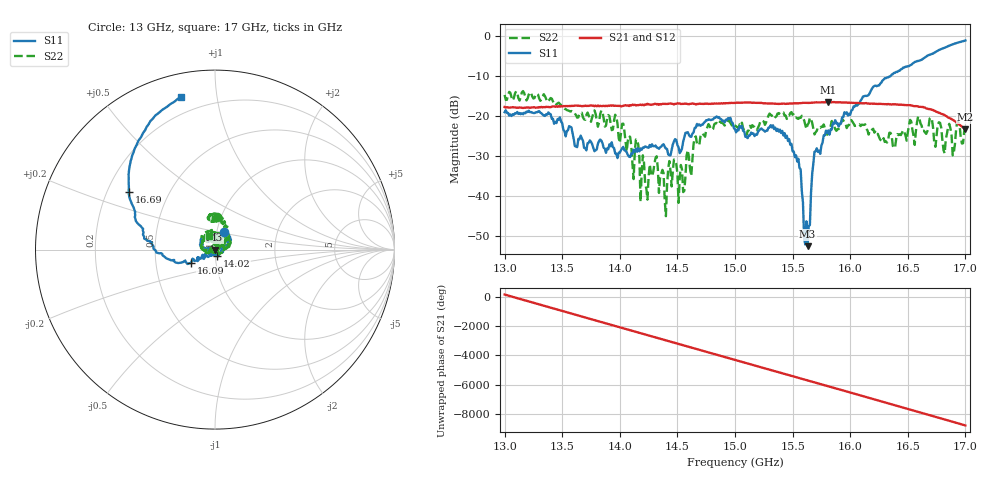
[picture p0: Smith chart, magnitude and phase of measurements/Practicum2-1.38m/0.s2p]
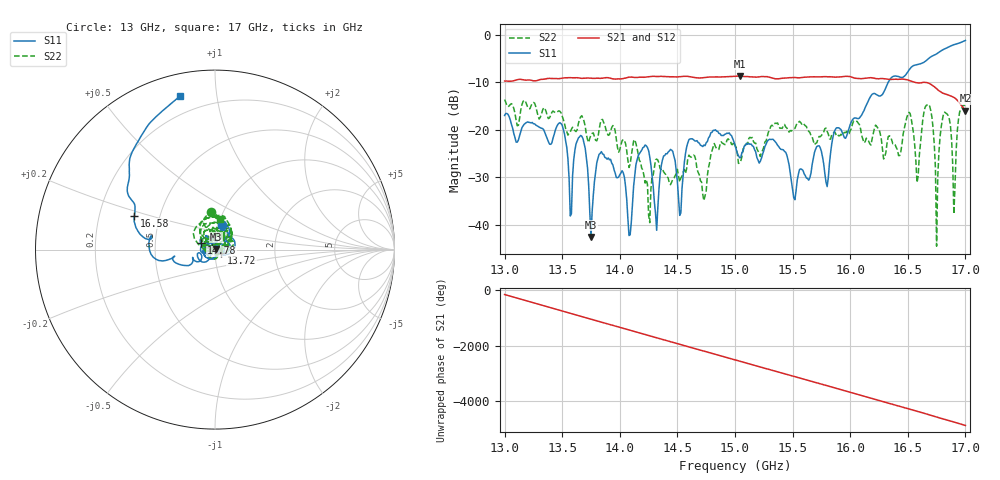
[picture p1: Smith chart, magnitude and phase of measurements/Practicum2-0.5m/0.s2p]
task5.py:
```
import numpy as np
import skrf as rf
import matplotlib.pyplot as plt

def readout_s2p(your_file):

  ntwk = rf.Network(your_file)

  # Frequency (Hz)
  freq = ntwk.f

  # S-parameters (complex!)
  S = ntwk.s   # shape: (Nfreq, 2, 2)

  # Individual parameters
  S11 = S[:, 0, 0]
  S21 = S[:, 1, 0]
  S12 = S[:, 0, 1]
  S22 = S[:, 1, 1]
  return(freq, S11, S21, S12, S22)



def get_gain(dist,file):
    freq, S11, S21, S12, S22 = readout_s2p(file)

    c0 = 3e8


    lambd = c0/freq
    
    # Friis equation
    gain = np.abs(S21)*4*np.pi*dist/lambd
    
    return(freq,gain)




# voor elke afstand
freq_138,gain_138 = get_gain(1.38,"measurements/Practicum2-1.38m/0.s2p")

freq_100, gain_100 = get_gain(1.00,"measurements/Practicum2-1m/0.s2p")

freq_050, gain_050 = get_gain(0.5,"measurements/Practicum2-0.5m/0.s2p")


# far field distance

lx = 8.86e-2
ly = 6.5e-2
D = lx # (lx**2+ly**2)**0.5

lambd = 3e8/freq_138
R = 2*D**2/lambd



fig, ax1 = plt.subplots()




ax1.plot(freq_138/1e9,10*np.log10(gain_138),label="1.38m")
ax1.plot(freq_100/1e9,10*np.log10(gain_100),label="1m")
ax1.plot(freq_050/1e9,10*np.log10(gain_050),label="0.5m")


ax2 = ax1.twinx()
ax2.plot(freq_138/1e9,R,"--",label="Far field distance")
ax2.set_ylabel("Distance (m)")

ax1.set_xlabel("Freq (GHz)")
ax1.set_ylabel("Gain (dB)")
ax1.set_title("Gain per frequency")
ax1.grid()
ax1.legend()
ax2.legend(loc=4)


plt.show()
plt.savefig("plots/task5.png", dpi=500)
```
measurements/Practicum2-1.38m/0.s2p:
!Keysight Technologies,P9374A,MY57211807,A.19.30.04
!Date: Friday, May 01, 2026 14:06:19
!Correction: S11(C  2-Port  )
!S21(C  2-Port  )
!S12(C  2-Port  )
!S22(C  2-Port  )
!S2P File: Measurements: S11, S21, S12, S22:
# Hz S  RI  R 50
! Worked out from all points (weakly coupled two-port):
!   401 points, 13 GHz to 17 GHz, reference 50 ohm
!   highest |S21| = -16.57 dB at 15.81 GHz (marker M1); lowest = -23.4 dB at 17 GHz (marker M2)
!   lowest |S11| = -52.6 dB at 15.63 GHz (marker M3), VSWR 1.00, Z = 49.8 - j0.0845 ohm
!   |S11| at or under -10 dB: start of sweep to 16.35 GHz
!   |S22| runs from -45.1 to -13.8 dB; largest |S21 - S12| = 0.0044
!   S11 on the Smith chart (normalised r, x): 13 GHz: 1.08, +0.22; 14.02 GHz: 1.02, -0.08; 16.09 GHz: 0.76, -0.12; 16.69 GHz: 0.29, +0.28; 17 GHz: 0.11, +0.80
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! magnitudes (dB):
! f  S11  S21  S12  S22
! 13 GHz  -19.1  -17.8  -17.8  -14.8
! 14.02 GHz  -28.1  -17.6  -17.6  -22.0
! 14.39 GHz  -27.7  -17.0  -17.0  -41.1
! 15 GHz  -23.3  -16.8  -16.8  -22.5
! 15.45 GHz  -25.0  -17.0  -17.0  -20.8
! 15.63 GHz  -52.6  -16.8  -16.8  -22.3
! 15.69 GHz  -29.0  -16.7  -16.7  -24.7
! 15.81 GHz  -23.7  -16.6  -16.6  -24.4
! 16.09 GHz  -16.3  -16.9  -16.9  -22.6
! 16.69 GHz  -4.8  -18.3  -18.3  -20.7
! 17 GHz  -1.2  -23.4  -23.4  -21.7
measurements/Practicum2-0.5m/0.s2p:
!Keysight Technologies,P9374A,MY57211807,A.19.30.04
!Date: Friday, May 01, 2026 14:46:43
!Correction: S11(C  2-Port  )
!S21(C  2-Port  )
!S12(C  2-Port  )
!S22(C  2-Port  )
!S2P File: Measurements: S11, S21, S12, S22:
# Hz S  RI  R 50
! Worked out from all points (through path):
!   401 points, 13 GHz to 17 GHz, reference 50 ohm
!   highest |S21| = -8.64 dB at 15.04 GHz (marker M1); lowest = -15.9 dB at 17 GHz (marker M2)
!   lowest |S11| = -42.6 dB at 13.75 GHz (marker M3), VSWR 1.01, Z = 50.7 + j0.359 ohm
!   |S11| at or under -10 dB: start of sweep to 16.33 GHz
!   |S22| runs from -44.5 to -13.6 dB; largest |S21 - S12| = 0.011
!   S11 on the Smith chart (normalised r, x): 13 GHz: 1.04, +0.29; 13.72 GHz: 1.07, -0.04; 14.78 GHz: 0.85, +0.06; 16.58 GHz: 0.36, +0.18; 17 GHz: 0.11, +0.79
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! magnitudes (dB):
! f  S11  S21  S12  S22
! 13 GHz  -17.0  -9.7  -9.7  -13.6
! 13.72 GHz  -28.0  -9.1  -9.1  -22.1
! 13.75 GHz  -42.6  -9.1  -9.1  -21.1
! 14.78 GHz  -21.4  -8.9  -8.8  -26.9
! 15 GHz  -23.3  -8.7  -8.7  -23.2
! 15.04 GHz  -25.9  -8.6  -8.6  -27.0
! 15.8 GHz  -32.0  -8.8  -8.8  -20.3
! 16.58 GHz  -6.2  -10.1  -10.1  -31.1
! 16.67 GHz  -5.2  -10.1  -10.1  -14.7
! 16.9 GHz  -2.0  -13.2  -13.2  -37.8
! 17 GHz  -1.1  -15.9  -15.9  -15.2
